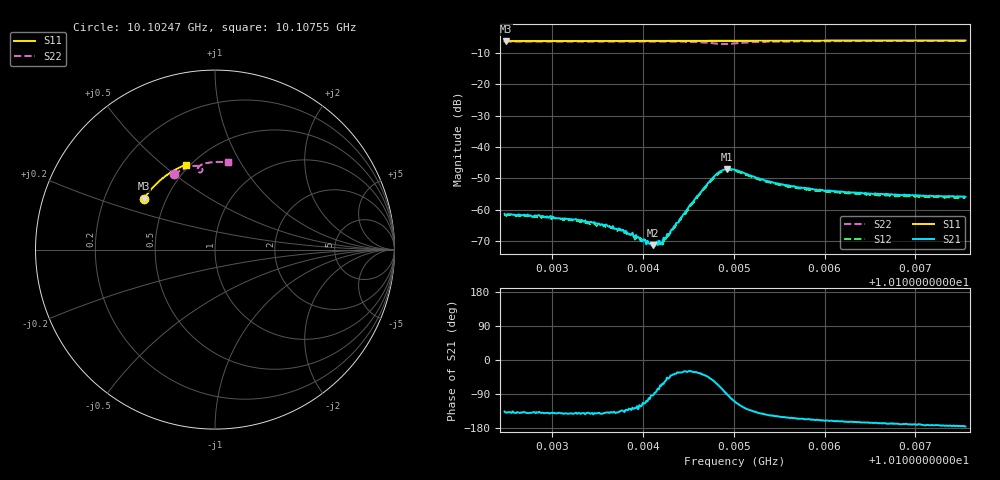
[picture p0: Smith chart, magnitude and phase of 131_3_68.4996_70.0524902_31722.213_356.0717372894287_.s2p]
#  HZ  S  RI  R  50.00
! Rohde & Schwarz Vector Network Analyzer
! Rohde-Schwarz,ZNB20-2Port,1311601062101988,3.16
! Created: UTC 3/20/2024, 5:09:38 PM
! freq[Hz]  re:S11  im:S11  re:S21  im:S21  re:S12  im:S12  re:S22  im:S22
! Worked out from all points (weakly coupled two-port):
!   401 points, 10.10247 GHz to 10.10755 GHz, reference 50 ohm
!   highest |S21| = -46.99 dB at 10.10492 GHz (marker M1); lowest = -71.4 dB at 10.10411 GHz (marker M2)
!   lowest |S11| = -6.3 dB at 10.10249 GHz (marker M3), VSWR 2.89, Z = 18.8 + j14 ohm
!   |S11| at or under -10 dB: nowhere
!   |S22| runs from -7.2 to -6.2 dB; largest |S21 - S12| = 0.00045
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1.0102473e10  -0.396 0.2823  -0.000616 -0.00059  -0.000554 -0.000611  -0.2302 0.4199
1.0102485e10  -0.3955 0.283  -0.00062 -0.000543  -0.00054 -0.000592  -0.2293 0.4201
1.0102828e10  -0.3839 0.3004  -0.000588 -0.000532  -0.000536 -0.000543  -0.2098 0.4313
1.0103324e10  -0.3658 0.3244  -0.000527 -0.000436  -0.000466 -0.00045  -0.1801 0.4458
1.0103463e10  -0.3604 0.3309  -0.000482 -0.000407  -0.000414 -0.000415  -0.1714 0.4495
1.0103527e10  -0.358 0.3337  -0.000447 -0.000351  -0.00043 -0.000409  -0.1674 0.4513
1.0103768e10  -0.3482 0.345  -0.000318 -0.000341  -0.000293 -0.000374  -0.1515 0.457
1.0103908e10  -0.3424 0.3512  -0.000226 -0.000301  -0.000194 -0.000271  -0.142 0.4601
1.0103997e10  -0.3387 0.3551  -0.000123 -0.000293  -0.000133 -0.000318  -0.1356 0.462
1.010406e10  -0.3361 0.3578  -5.48e-05 -0.000287  -4.76e-05 -0.000289  -0.1311 0.4632
1.0104111e10  -0.3338 0.3601  -1.5e-05 -0.000269  2.34e-05 -0.000273  -0.1272 0.4639
1.0104175e10  -0.3312 0.3628  7.04e-05 -0.000318  0.000101 -0.000291  -0.1223 0.4651
1.0104238e10  -0.3284 0.3656  0.000193 -0.000298  0.000206 -0.000262  -0.1173 0.4658
1.0104543e10  -0.3151 0.3782  0.00112 -0.000663  0.00111 -0.000527  -0.089 0.465
1.0104759e10  -0.3051 0.3867  0.00194 -0.00244  0.00204 -0.00215  -0.0702 0.4466
1.0104848e10  -0.3009 0.3901  0.00132 -0.00383  0.0016 -0.00354  -0.0744 0.4333
1.0104924e10  -0.2975 0.393  -2.73e-05 -0.00447  0.000369 -0.00429  -0.0862 0.43
1.0105013e10  -0.2935 0.3964  -0.00147 -0.00404  -0.00107 -0.004  -0.0962 0.4386
1.0105458e10  -0.2721 0.4129  -0.00226 -0.0014  -0.00209 -0.00154  -0.0714 0.4745
1.0105864e10  -0.2518 0.4269  -0.00197 -0.000831  -0.00183 -0.000963  -0.0413 0.4833
1.0106715e10  -0.207 0.4524  -0.0017 -0.000367  -0.00159 -0.000505  0.0169 0.4884
1.0107553e10  -0.1606 0.4727  -0.0016 -0.000131  -0.00149 -0.000258  0.0714 0.4858
